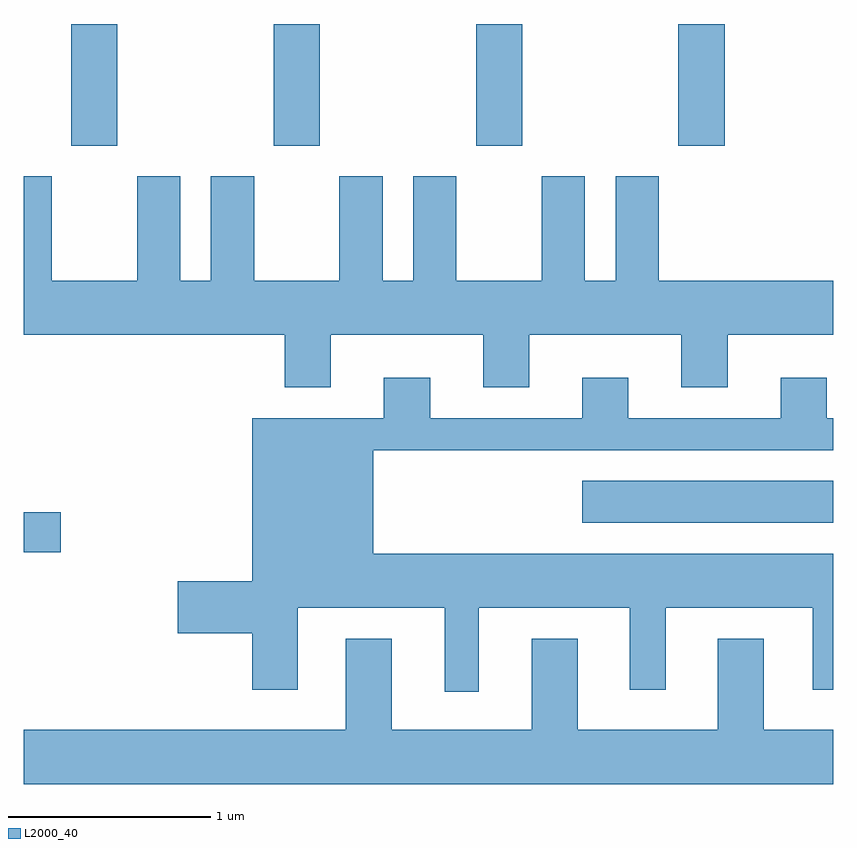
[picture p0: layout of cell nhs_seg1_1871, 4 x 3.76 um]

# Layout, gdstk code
import gdstk
lib = gdstk.Library(unit=1e-6, precision=1e-09)
def R(c, l, rs):  # rectangles x0, y0, x1, y1
    for r in rs: c.add(gdstk.rectangle(r[:2], r[2:], *l))
def A(c, l, x, y, w, h, nx, ny, dx, dy):  # array of equal rectangles
    R(c, l, [(x+i*dx, y+j*dy, x+i*dx+w, y+j*dy+h) for i in range(nx) for j in range(ny)])
def P(c, l, *ps):  # polygons
    for p in ps: c.add(gdstk.Polygon(p, *l))
L2000_40 = (2000, 40)

nhs_seg1_1871 = lib.new_cell('nhs_seg1_1871')
A(nhs_seg1_1871, L2000_40, 241.846, 967.111, 0.228, 0.601, 4, 1, 1, 0)
R(nhs_seg1_1871, L2000_40, [(241.611,965.101,241.794,965.299), (244.371,965.246,245.611,965.454)])
P(nhs_seg1_1871, L2000_40, [(243.749,966.959),(243.536,966.959),(243.536,966.444),(243.384,966.444),(243.384,966.959),(243.171,966.959),(243.171,966.444),(242.749,966.444),(242.749,966.959),(242.536,966.959),(242.536,966.444),(242.384,966.444),(242.384,966.959),(242.171,966.959),(242.171,966.444),(241.749,966.444),(241.749,966.959),(241.611,966.959),(241.611,966.176),(242.901,966.176),(242.901,965.916),(243.129,965.916),(243.129,966.176),(243.881,966.176),(243.881,965.916),(244.109,965.916),(244.109,966.176),(244.861,966.176),(244.861,965.916),(245.089,965.916),(245.089,966.176),(245.611,966.176),(245.611,966.444),(244.749,966.444),(244.749,966.959),(244.536,966.959),(244.536,966.444),(244.384,966.444),(244.384,966.959),(244.171,966.959),(244.171,966.444),(243.749,966.444)],
  [(243.859,964.826),(244.606,964.826),(244.606,964.421),(244.784,964.421),(244.784,964.826),(245.511,964.826),(245.511,964.421),(245.611,964.421),(245.611,965.094),(243.339,965.094),(243.339,965.606),(245.611,965.606),(245.611,965.764),(245.579,965.764),(245.579,965.964),(245.351,965.964),(245.351,965.764),(244.599,965.764),(244.599,965.964),(244.371,965.964),(244.371,965.764),(243.619,965.764),(243.619,965.964),(243.391,965.964),(243.391,965.764),(242.741,965.764),(242.741,964.959),(242.371,964.959),(242.371,964.701),(242.741,964.701),(242.741,964.421),(242.964,964.421),(242.964,964.826),(243.691,964.826),(243.691,964.413),(243.859,964.413)],
  [(245.611,964.224),(245.269,964.224),(245.269,964.674),(245.041,964.674),(245.041,964.224),(244.349,964.224),(244.349,964.674),(244.121,964.674),(244.121,964.224),(243.429,964.224),(243.429,964.674),(243.201,964.674),(243.201,964.224),(241.611,964.224),(241.611,963.956),(245.611,963.956)])

lib.write_gds('nhs_seg1_1871.gds')
